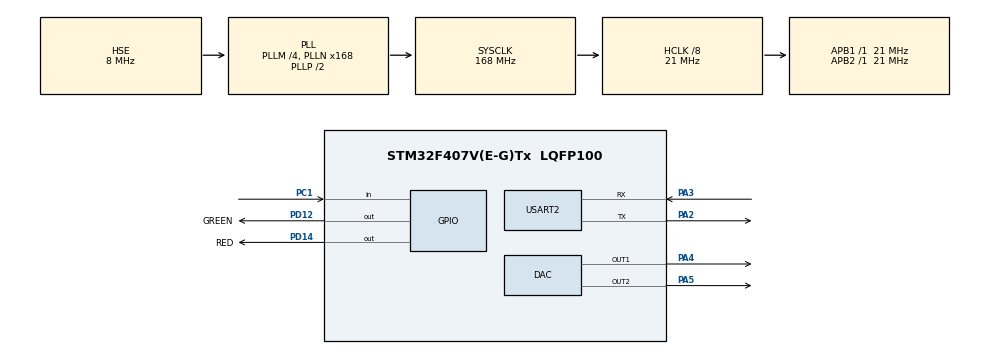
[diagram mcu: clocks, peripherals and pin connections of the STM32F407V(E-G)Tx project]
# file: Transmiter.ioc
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Mcu.Family=STM32F4
Mcu.Name=STM32F407V(E-G)Tx
Mcu.Package=LQFP100
NVIC.PriorityGroup=NVIC_PRIORITYGROUP_4
NVIC.TIM7_IRQn=true\:0\:0\:false\:false\:true\:true\:true\:true
NVIC.USART2_IRQn=true\:0\:0\:false\:false\:true\:true\:true\:true
PA2.Mode=Asynchronous
PA2.Signal=USART2_TX
PA3.Mode=Asynchronous
PA3.Signal=USART2_RX
PA4.Signal=COMP_DAC1_group
PA5.Signal=COMP_DAC2_group
PC1.GPIO_PuPd=GPIO_PULLDOWN
PC1.Signal=GPIO_Input
PD12.GPIO_Label=GREEN
PD12.Signal=GPIO_Output
PD14.GPIO_Label=RED
PD14.Signal=GPIO_Output
PH0-OSC_IN.Mode=HSE-External-Oscillator
PH0-OSC_IN.Signal=RCC_OSC_IN
PH1-OSC_OUT.Mode=HSE-External-Oscillator
PH1-OSC_OUT.Signal=RCC_OSC_OUT
ProjectManager.HeapSize=0x200
ProjectManager.StackSize=0x400
ProjectManager.TargetToolchain=STM32CubeIDE
RCC.48MHZClocksFreq_Value=84000000
RCC.AHBCLKDivider=RCC_SYSCLK_DIV8
RCC.AHBFreq_Value=21000000
RCC.APB1Freq_Value=21000000
RCC.APB1TimFreq_Value=21000000
RCC.APB2Freq_Value=21000000
RCC.APB2TimFreq_Value=21000000
RCC.CortexFreq_Value=21000000
RCC.HCLKFreq_Value=21000000
RCC.HSE_VALUE=8000000
RCC.HSI_VALUE=16000000
RCC.LSE_VALUE=32768
RCC.PLLM=4
RCC.PLLN=168
RCC.PLLSourceVirtual=RCC_PLLSOURCE_HSE
RCC.SYSCLKFreq_VALUE=168000000
RCC.SYSCLKSource=RCC_SYSCLKSOURCE_PLLCLK
RCC.VCOOutputFreq_Value=336000000
SH.COMP_DAC1_group.0=DAC_OUT1,DAC_OUT1
SH.COMP_DAC2_group.0=DAC_OUT2,DAC_OUT2
TIM7.AutoReloadPreload=TIM_AUTORELOAD_PRELOAD_ENABLE
TIM7.Period=42000
TIM7.Prescaler=99
USART2.VirtualMode=VM_ASYNC
VP_TIM7_VS_ClockSourceINT.Mode=Enable_Timer
board=custom

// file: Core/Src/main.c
/* USER CODE BEGIN Header */
/**
  ******************************************************************************
  * @file           : main.c
  * @brief          : Main program body
  ******************************************************************************
  * @attention
  *
  * Copyright (c) 2023 STMicroelectronics.
  * All rights reserved.
  *
  * This software is licensed under terms that can be found in the LICENSE file
  * in the root directory of this software component.
  * If no LICENSE file comes with this software, it is provided AS-IS.
  *
  ******************************************************************************
  */
/* USER CODE END Header */
#include "main.h"
#include "dac.h"
#include "tim.h"
#include "usart.h"
#include "gpio.h"

/* USER CODE BEGIN PTD */
float sample;
GPIO_PinState controlPinState;
uint8_t mode;
/* USER CODE END PTD */

void SystemClock_Config(void);

int main(void)
{

  /* MCU Configuration--------------------------------------------------------*/

  /* Reset of all peripherals, Initializes the Flash interface and the Systick. */
  HAL_Init();

  /* Configure the system clock */
  SystemClock_Config();

  /* Initialize all configured peripherals */
  MX_GPIO_Init();
  MX_DAC_Init();
  MX_TIM7_Init();
  MX_USART2_UART_Init();
  /* USER CODE BEGIN 2 */
    HAL_DAC_Start(&hdac,DAC_CHANNEL_2);
    HAL_DAC_Start(&hdac,DAC_CHANNEL_1);
    HAL_TIM_Base_Start_IT(&htim7);
    GPIO_PinState prevState, nowState;
  /* USER CODE END 2 */

  /* Infinite loop */
  /* USER CODE BEGIN WHILE */
    HAL_UART_Receive_IT(&huart2, &sample, sizeof(float));
  while (1)
  {
      nowState = controlPinState;
      switch (nowState - prevState) {
          case -1:
              mode=0;
              HAL_DAC_SetValue(&hdac, DAC_CHANNEL_2, DAC_ALIGN_12B_R, 0);
              HAL_DAC_SetValue(&hdac, DAC_CHANNEL_1, DAC_ALIGN_12B_R, 0);
              break;
          case 1:
              mode = 1;
              break;
      }

    /* USER CODE END WHILE */

    /* USER CODE BEGIN 3 */
    if (mode==1) HAL_UART_Receive_IT(&huart2, &sample, sizeof(float));

    prevState = nowState;
  }
  /* USER CODE END 3 */
}

void SystemClock_Config(void)
{
  RCC_OscInitTypeDef RCC_OscInitStruct = {0};
  RCC_ClkInitTypeDef RCC_ClkInitStruct = {0};

  /** Configure the main internal regulator output voltage
  */
  __HAL_RCC_PWR_CLK_ENABLE();
  __HAL_PWR_VOLTAGESCALING_CONFIG(PWR_REGULATOR_VOLTAGE_SCALE1);

  /** Initializes the RCC Oscillators according to the specified parameters
  * in the RCC_OscInitTypeDef structure.
  */
  RCC_OscInitStruct.OscillatorType = RCC_OSCILLATORTYPE_HSE;
  RCC_OscInitStruct.HSEState = RCC_HSE_ON;
  RCC_OscInitStruct.PLL.PLLState = RCC_PLL_ON;
  RCC_OscInitStruct.PLL.PLLSource = RCC_PLLSOURCE_HSE;
  RCC_OscInitStruct.PLL.PLLM = 4;
  RCC_OscInitStruct.PLL.PLLN = 168;
  RCC_OscInitStruct.PLL.PLLP = RCC_PLLP_DIV2;
  RCC_OscInitStruct.PLL.PLLQ = 4;
  if (HAL_RCC_OscConfig(&RCC_OscInitStruct) != HAL_OK)
  {
    Error_Handler();
  }

  /** Initializes the CPU, AHB and APB buses clocks
  */
  RCC_ClkInitStruct.ClockType = RCC_CLOCKTYPE_HCLK|RCC_CLOCKTYPE_SYSCLK
                              |RCC_CLOCKTYPE_PCLK1|RCC_CLOCKTYPE_PCLK2;
  RCC_ClkInitStruct.SYSCLKSource = RCC_SYSCLKSOURCE_PLLCLK;
  RCC_ClkInitStruct.AHBCLKDivider = RCC_SYSCLK_DIV8;
  RCC_ClkInitStruct.APB1CLKDivider = RCC_HCLK_DIV1;
  RCC_ClkInitStruct.APB2CLKDivider = RCC_HCLK_DIV1;

  if (HAL_RCC_ClockConfig(&RCC_ClkInitStruct, FLASH_LATENCY_0) != HAL_OK)
  {
    Error_Handler();
  }
}

void Error_Handler(void)
{
  __disable_irq();
  while (1)
  {
  }
}
